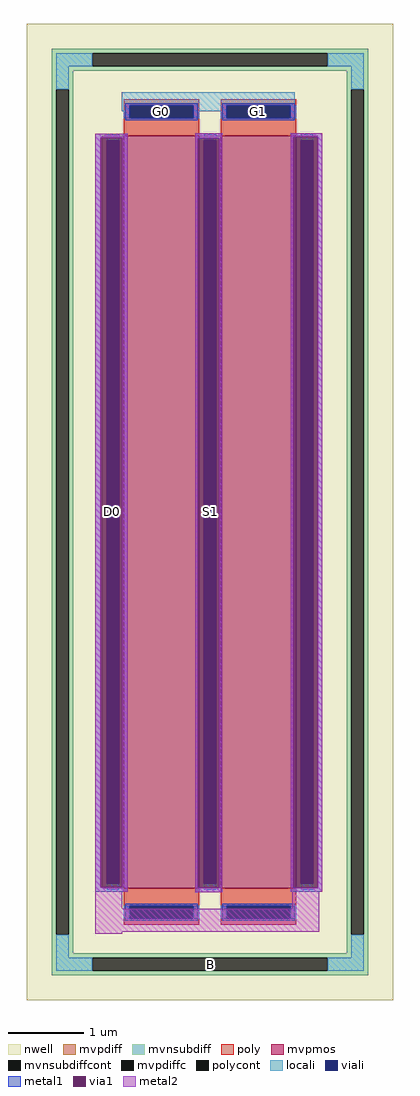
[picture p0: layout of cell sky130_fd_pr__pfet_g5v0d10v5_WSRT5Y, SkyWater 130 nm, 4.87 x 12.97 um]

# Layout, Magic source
magic
tech sky130A
magscale 1 2
<< nwell >>
rect -487 -1297 487 1297
<< mvpmos >>
rect -229 -1000 -29 1000
rect 29 -1000 229 1000
<< mvpdiff >>
rect -287 988 -229 1000
rect -287 -988 -275 988
rect -241 -988 -229 988
rect -287 -1000 -229 -988
rect -29 988 29 1000
rect -29 -988 -17 988
rect 17 -988 29 988
rect -29 -1000 29 -988
rect 229 988 287 1000
rect 229 -988 241 988
rect 275 -988 287 988
rect 229 -1000 287 -988
<< mvpdiffc >>
rect -275 -988 -241 988
rect -17 -988 17 988
rect 241 -988 275 988
<< mvnsubdiff >>
rect -421 1219 421 1231
rect -421 1185 -313 1219
rect 313 1185 421 1219
rect -421 1173 421 1185
rect -421 1123 -363 1173
rect -421 -1123 -409 1123
rect -375 -1123 -363 1123
rect 363 1123 421 1173
rect -421 -1173 -363 -1123
rect 363 -1123 375 1123
rect 409 -1123 421 1123
rect 363 -1173 421 -1123
rect -421 -1185 421 -1173
rect -421 -1219 -313 -1185
rect 313 -1219 421 -1185
rect -421 -1231 421 -1219
<< mvnsubdiffcont >>
rect -313 1185 313 1219
rect -409 -1123 -375 1123
rect 375 -1123 409 1123
rect -313 -1219 313 -1185
<< poly >>
rect -229 1081 -29 1097
rect -229 1047 -213 1081
rect -45 1047 -29 1081
rect -229 1000 -29 1047
rect 29 1081 229 1097
rect 29 1047 45 1081
rect 213 1047 229 1081
rect 29 1000 229 1047
rect -229 -1047 -29 -1000
rect -229 -1081 -213 -1047
rect -45 -1081 -29 -1047
rect -229 -1097 -29 -1081
rect 29 -1047 229 -1000
rect 29 -1081 45 -1047
rect 213 -1081 229 -1047
rect 29 -1097 229 -1081
<< polycont >>
rect -213 1047 -45 1081
rect 45 1047 213 1081
rect -213 -1081 -45 -1047
rect 45 -1081 213 -1047
<< locali >>
rect -409 1185 -313 1219
rect 313 1185 409 1219
rect -409 1123 -375 1185
rect 375 1123 409 1185
rect -235 1081 225 1115
rect -235 1065 -213 1081
rect -229 1047 -213 1065
rect -45 1065 45 1081
rect -45 1047 -29 1065
rect 29 1047 45 1065
rect 213 1047 229 1081
rect -275 988 -241 1004
rect -275 -1004 -241 -988
rect -17 988 17 1004
rect -17 -1004 17 -988
rect 241 988 275 1004
rect 241 -1004 275 -988
rect -229 -1081 -213 -1047
rect -45 -1081 -29 -1047
rect 29 -1081 45 -1047
rect 213 -1081 229 -1047
rect -409 -1185 -375 -1123
rect 375 -1185 409 -1123
rect -409 -1219 -313 -1185
rect 313 -1219 409 -1185
<< viali >>
rect -213 1047 -45 1081
rect 45 1047 213 1081
rect -275 -988 -241 988
rect -17 -988 17 988
rect 241 -988 275 988
rect -213 -1081 -45 -1047
rect 45 -1081 213 -1047
<< metal1 >>
rect -225 1081 -33 1087
rect -225 1047 -213 1081
rect -45 1047 -33 1081
rect -225 1041 -33 1047
rect 33 1081 225 1087
rect 33 1047 45 1081
rect 213 1047 225 1081
rect 33 1041 225 1047
rect -305 995 -219 1005
rect -305 -997 -291 995
rect -233 -997 -219 995
rect -305 -1009 -219 -997
rect -39 993 33 1007
rect -39 -999 -33 993
rect 25 -999 33 993
rect -39 -1011 33 -999
rect 215 997 299 1007
rect 215 -999 221 997
rect 287 -999 299 997
rect 215 -1009 299 -999
rect -225 -1047 -33 -1041
rect -225 -1081 -213 -1047
rect -45 -1081 -33 -1047
rect -225 -1087 -33 -1081
rect 33 -1047 225 -1041
rect 33 -1081 45 -1047
rect 213 -1081 225 -1047
rect 33 -1087 225 -1081
<< via1 >>
rect -291 988 -233 995
rect -291 -988 -275 988
rect -275 -988 -241 988
rect -241 -988 -233 988
rect -291 -997 -233 -988
rect -33 988 25 993
rect -33 -988 -17 988
rect -17 -988 17 988
rect 17 -988 25 988
rect -33 -999 25 -988
rect 221 988 287 997
rect 221 -988 241 988
rect 241 -988 275 988
rect 275 -988 287 988
rect 221 -999 287 -988
<< metal2 >>
rect -305 995 -219 1005
rect -305 -997 -291 995
rect -233 -997 -219 995
rect -305 -1009 -219 -997
rect -39 993 33 1007
rect -39 -999 -33 993
rect 25 -999 33 993
rect -305 -1055 -233 -1009
rect -39 -1011 33 -999
rect 215 997 299 1007
rect 215 -999 221 997
rect 287 -999 299 997
rect 215 -1009 299 -999
rect 219 -1055 291 -1009
rect -305 -1115 291 -1055
rect -305 -1121 -233 -1115
<< labels >>
rlabel mvnsubdiffcont 0 -1202 0 -1202 0 B
port 1 nsew
rlabel mvpdiffc -258 0 -258 0 0 D0
port 2 nsew
rlabel polycont -129 1064 -129 1064 0 G0
port 3 nsew
rlabel mvpdiffc 0 0 0 0 0 S1
port 4 nsew
rlabel polycont 129 1064 129 1064 0 G1
port 5 nsew
<< properties >>
string FIXED_BBOX -392 -1202 392 1202
string gencell sky130_fd_pr__pfet_g5v0d10v5
string library sky130
string parameters w 10 l 1 m 1 nf 2 diffcov 100 polycov 100 guard 1 glc 1 grc 1 gtc 1 gbc 1 tbcov 100 rlcov 100 topc 1 botc 1 poverlap 0 doverlap 1 lmin 0.50 wmin 0.42 class mosfet compatible {sky130_fd_pr__pfet_01v8  sky130_fd_pr__pfet_01v8_lvt sky130_fd_pr__pfet_01v8_hvt  sky130_fd_pr__pfet_g5v0d10v5} full_metal 1 conn_gates 0 viasrc 100 viadrn 100 viagate 100 viagb 0 viagr 0 viagl 0 viagt 0 doports 1
<< end >>
